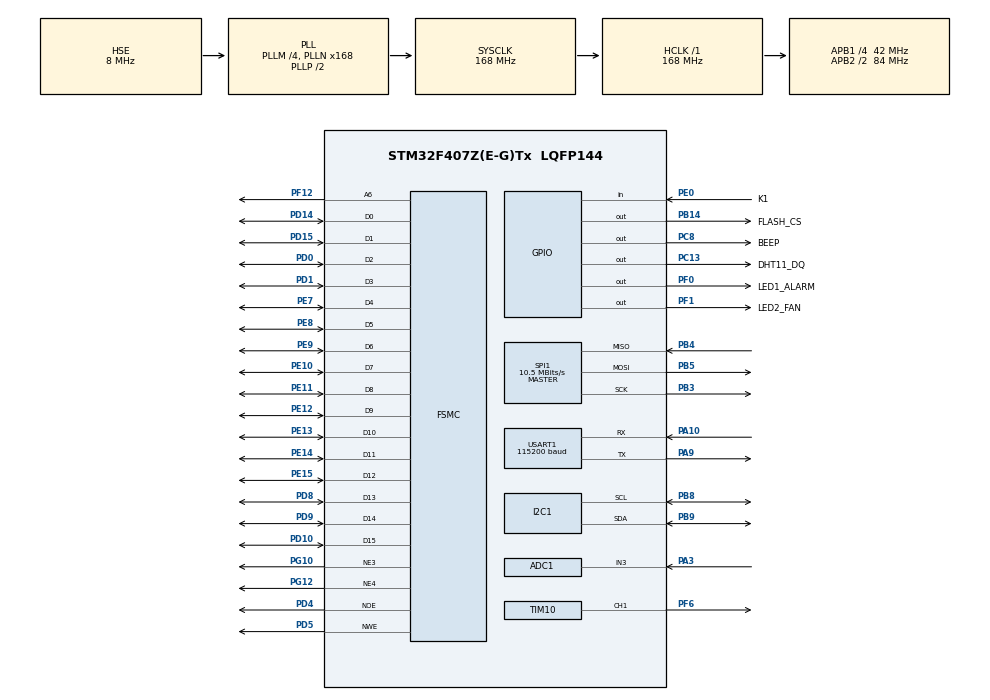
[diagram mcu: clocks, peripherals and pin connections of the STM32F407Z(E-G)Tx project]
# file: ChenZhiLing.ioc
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ADC1.Channel-0\#ChannelRegularConversion=ADC_CHANNEL_3
ADC1.NbrOfConversionFlag=1
ADC1.Rank-0\#ChannelRegularConversion=1
ADC1.SamplingTime-0\#ChannelRegularConversion=ADC_SAMPLETIME_56CYCLES
ADC1.master=1
FSMC.AddressSetupTime3=0
FSMC.BusTurnAroundDuration3=0
FSMC.BusTurnAroundDuration4=0
FSMC.DataSetupTime3=15
FSMC.DataSetupTime4=60
FSMC.ExtendedAddressSetupTime3=0
FSMC.ExtendedAddressSetupTime4=9
FSMC.ExtendedBusTurnAroundDuration3=0
FSMC.ExtendedBusTurnAroundDuration4=0
FSMC.ExtendedDataSetupTime3=15
FSMC.ExtendedDataSetupTime4=8
FSMC.ExtendedMode3=FSMC_EXTENDED_MODE_ENABLE
FSMC.ExtendedMode4=FSMC_EXTENDED_MODE_ENABLE
Mcu.Family=STM32F4
Mcu.Name=STM32F407Z(E-G)Tx
Mcu.Package=LQFP144
NVIC.PriorityGroup=NVIC_PRIORITYGROUP_3
NVIC.TIM6_DAC_IRQn=true\:1\:0\:true\:false\:true\:true\:true\:true
NVIC.TIM7_IRQn=true\:1\:0\:true\:false\:true\:true\:true\:true
NVIC.USART1_IRQn=true\:5\:0\:true\:false\:true\:true\:true\:true
PA10.Mode=Asynchronous
PA10.Signal=USART1_RX
PA13.Mode=Serial_Wire
PA13.Signal=SYS_JTMS-SWDIO
PA14.Mode=Serial_Wire
PA14.Signal=SYS_JTCK-SWCLK
PA3.Signal=ADCx_IN3
PA9.Mode=Asynchronous
PA9.Signal=USART1_TX
PB14.GPIO_Label=FLASH_CS
PB14.GPIO_PuPd=GPIO_PULLUP
PB14.GPIO_Speed=GPIO_SPEED_FREQ_VERY_HIGH
PB14.PinState=GPIO_PIN_SET
PB14.Signal=GPIO_Output
PB3.Mode=Full_Duplex_Master
PB3.Signal=SPI1_SCK
PB4.Mode=Full_Duplex_Master
PB4.Signal=SPI1_MISO
PB5.Mode=Full_Duplex_Master
PB5.Signal=SPI1_MOSI
PB8.Mode=I2C
PB8.Signal=I2C1_SCL
PB9.Mode=I2C
PB9.Signal=I2C1_SDA
PC13-ANTI_TAMP.GPIO_Label=DHT11_DQ
PC13-ANTI_TAMP.GPIO_PuPd=GPIO_PULLUP
PC13-ANTI_TAMP.GPIO_Speed=GPIO_SPEED_FREQ_LOW
PC13-ANTI_TAMP.PinState=GPIO_PIN_SET
PC13-ANTI_TAMP.Signal=GPIO_Output
PC8.GPIO_Label=BEEP
PC8.PinState=GPIO_PIN_SET
PC8.Signal=GPIO_Output
PD0.Signal=FSMC_D2_DA2
PD1.Signal=FSMC_D3_DA3
PD10.Signal=FSMC_D15_DA15
PD14.Signal=FSMC_D0_DA0
PD15.Signal=FSMC_D1_DA1
PD4.Signal=FSMC_NOE
PD5.Signal=FSMC_NWE
PD8.Signal=FSMC_D13_DA13
PD9.Signal=FSMC_D14_DA14
PE0.GPIO_Label=K1
PE0.GPIO_PuPd=GPIO_PULLUP
PE0.Signal=GPIO_Input
PE10.Signal=FSMC_D7_DA7
PE11.Signal=FSMC_D8_DA8
PE12.Signal=FSMC_D9_DA9
PE13.Signal=FSMC_D10_DA10
PE14.Signal=FSMC_D11_DA11
PE15.Signal=FSMC_D12_DA12
PE7.Signal=FSMC_D4_DA4
PE8.Signal=FSMC_D5_DA5
PE9.Signal=FSMC_D6_DA6
PF0.GPIO_Label=LED1_ALARM
PF0.PinState=GPIO_PIN_SET
PF0.Signal=GPIO_Output
PF1.GPIO_Label=LED2_FAN
PF1.PinState=GPIO_PIN_SET
PF1.Signal=GPIO_Output
PF12.Signal=FSMC_A6
PF6.Signal=S_TIM10_CH1
PG10.Mode=NorPsramChipSelect3_3
PG10.Signal=FSMC_NE3
PG12.Mode=NorPsramChipSelect4_4
PG12.Signal=FSMC_NE4
PH0-OSC_IN.Mode=HSE-External-Oscillator
PH0-OSC_IN.Signal=RCC_OSC_IN
PH1-OSC_OUT.Mode=HSE-External-Oscillator
PH1-OSC_OUT.Signal=RCC_OSC_OUT
ProjectManager.HeapSize=0x200
ProjectManager.StackSize=0x400
ProjectManager.TargetToolchain=MDK-ARM V5.27
RCC.48MHZClocksFreq_Value=84000000
RCC.AHBFreq_Value=168000000
RCC.APB1CLKDivider=RCC_HCLK_DIV4
RCC.APB1Freq_Value=42000000
RCC.APB1TimFreq_Value=84000000
RCC.APB2CLKDivider=RCC_HCLK_DIV2
RCC.APB2Freq_Value=84000000
RCC.APB2TimFreq_Value=168000000
RCC.CortexFreq_Value=168000000
RCC.HCLKFreq_Value=168000000
RCC.HSE_VALUE=8000000
RCC.HSI_VALUE=16000000
RCC.LSE_VALUE=32768
RCC.PLLM=4
RCC.PLLN=168
RCC.PLLSourceVirtual=RCC_PLLSOURCE_HSE
RCC.SYSCLKFreq_VALUE=168000000
RCC.SYSCLKSource=RCC_SYSCLKSOURCE_PLLCLK
RCC.VCOOutputFreq_Value=336000000
SH.ADCx_IN3.0=ADC1_IN3,IN3
SH.FSMC_A6.0=FSMC_A6,A6_3
SH.FSMC_A6.1=FSMC_A6,A6_4
SH.FSMC_D0_DA0.0=FSMC_D0,16b-d3
SH.FSMC_D0_DA0.1=FSMC_D0,16b-d4
SH.FSMC_D10_DA10.0=FSMC_D10,16b-d3
SH.FSMC_D10_DA10.1=FSMC_D10,16b-d4
SH.FSMC_D11_DA11.0=FSMC_D11,16b-d3
SH.FSMC_D11_DA11.1=FSMC_D11,16b-d4
SH.FSMC_D12_DA12.0=FSMC_D12,16b-d3
SH.FSMC_D12_DA12.1=FSMC_D12,16b-d4
SH.FSMC_D13_DA13.0=FSMC_D13,16b-d3
SH.FSMC_D13_DA13.1=FSMC_D13,16b-d4
SH.FSMC_D14_DA14.0=FSMC_D14,16b-d3
SH.FSMC_D14_DA14.1=FSMC_D14,16b-d4
SH.FSMC_D15_DA15.0=FSMC_D15,16b-d3
SH.FSMC_D15_DA15.1=FSMC_D15,16b-d4
SH.FSMC_D1_DA1.0=FSMC_D1,16b-d3
SH.FSMC_D1_DA1.1=FSMC_D1,16b-d4
SH.FSMC_D2_DA2.0=FSMC_D2,16b-d3
SH.FSMC_D2_DA2.1=FSMC_D2,16b-d4
SH.FSMC_D3_DA3.0=FSMC_D3,16b-d3
SH.FSMC_D3_DA3.1=FSMC_D3,16b-d4
SH.FSMC_D4_DA4.0=FSMC_D4,16b-d3
SH.FSMC_D4_DA4.1=FSMC_D4,16b-d4
SH.FSMC_D5_DA5.0=FSMC_D5,16b-d3
SH.FSMC_D5_DA5.1=FSMC_D5,16b-d4
SH.FSMC_D6_DA6.0=FSMC_D6,16b-d3
SH.FSMC_D6_DA6.1=FSMC_D6,16b-d4
SH.FSMC_D7_DA7.0=FSMC_D7,16b-d3
SH.FSMC_D7_DA7.1=FSMC_D7,16b-d4
SH.FSMC_D8_DA8.0=FSMC_D8,16b-d3
SH.FSMC_D8_DA8.1=FSMC_D8,16b-d4
SH.FSMC_D9_DA9.0=FSMC_D9,16b-d3
SH.FSMC_D9_DA9.1=FSMC_D9,16b-d4
SH.FSMC_NOE.0=FSMC_NOE,Lcd3
SH.FSMC_NOE.1=FSMC_NOE,Lcd4
SH.FSMC_NWE.0=FSMC_NWE,Lcd3
SH.FSMC_NWE.1=FSMC_NWE,Lcd4
SH.S_TIM10_CH1.0=TIM10_CH1,PWM Generation1 CH1
SPI1.BaudRatePrescaler=SPI_BAUDRATEPRESCALER_8
SPI1.CLKPhase=SPI_PHASE_2EDGE
SPI1.CLKPolarity=SPI_POLARITY_HIGH
SPI1.CalculateBaudRate=10.5 MBits/s
SPI1.Direction=SPI_DIRECTION_2LINES
SPI1.Mode=SPI_MODE_MASTER
SPI1.VirtualType=VM_MASTER
TIM10.AutoReloadPreload=TIM_AUTORELOAD_PRELOAD_ENABLE
TIM10.Channel=TIM_CHANNEL_1
TIM10.OCPolarity_1=TIM_OCPOLARITY_LOW
TIM10.Period=99
TIM10.Prescaler=167
TIM6.AutoReloadPreload=TIM_AUTORELOAD_PRELOAD_ENABLE
TIM6.Period=4999
TIM6.Prescaler=8399
TIM7.AutoReloadPreload=TIM_AUTORELOAD_PRELOAD_ENABLE
TIM7.Period=499
TIM7.Prescaler=8399
USART1.BaudRate=115200
USART1.VirtualMode=VM_ASYNC
VP_TIM10_VS_ClockSourceINT.Mode=Enable_Timer
VP_TIM6_VS_ClockSourceINT.Mode=Enable_Timer
VP_TIM7_VS_ClockSourceINT.Mode=Enable_Timer
board=custom

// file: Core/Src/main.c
/* USER CODE BEGIN Header */
/**
  ******************************************************************************
  * @file           : main.c
  * @brief          : Main program body
  ******************************************************************************
  * @attention
  *
  * Copyright (c) 2026 STMicroelectronics.
  * All rights reserved.
  *
  * This software is licensed under terms that can be found in the LICENSE file
  * in the root directory of this software component.
  * If no LICENSE file comes with this software, it is provided AS-IS.
  *
  ******************************************************************************
  */
/* USER CODE END Header */
#include "main.h"
#include "adc.h"
#include "i2c.h"
#include "spi.h"
#include "tim.h"
#include "gpio.h"
#include "fsmc.h"
#include "usart.h"

/* USER CODE BEGIN Includes */
#include "dht11.h"
#include "at24c02.h"
#include "lcd.h"
#include "flash.h"
#include "includes.h"   // [RTOS 新增] 引入 uC/OS-II 内核总头文件 (ucos_ii.h / os_cpu.h / os_cfg.h)
#include <stdio.h>
#include <string.h>
/* USER CODE END Includes */

/* USER CODE BEGIN PTD */
// Flash 历史记录扇区基地址 (W25Q128 扇区 16: 0x00010000 = 64KB)
#define FLASH_HISTORY_ADDR      0x00010000
#define FLASH_HISTORY_MAGIC     0x55AAAA55
#define FLASH_HISTORY_MAX_NUM   10

typedef struct {
    float    volt;       // 电压 (V)
    uint8_t  humi;       // 湿度 (%RH)
    uint8_t  temp;       // 温度 (℃)
    uint8_t  fan_duty;   // 风扇占空比 (%)
    uint8_t  alarm_flag; // 报警状态 (0:正常, 1:电压报警, 2:湿度报警, 3:双重报警)
} HistoryRecord_t;

typedef struct {
    uint32_t magic;      // 0x55AAAA55
    uint8_t  count;      // 0~10
    HistoryRecord_t records[FLASH_HISTORY_MAX_NUM];
} HistoryStorage_t;

typedef enum {
    UI_PAGE_REALTIME = 0, // 0: 实时监控仪表盘
    UI_PAGE_HISTORY  = 1  // 1: 历史 10 组记录表格
} UIPage_t;
/* USER CODE END PTD */

/* USER CODE BEGIN PD */
// ==================== [RTOS 新增: 任务优先级与栈配置] ====================
// 优先级规则：数值越小优先级越高 (0 被 OS_TASK_TMR_PRIO 占用, 62/63 被统计/空闲任务占用)
#define TASK_SENSOR_PRIO      1u     // 任务1: 传感器采样 (ADC 50ms + DHT11 1s)
#define TASK_CTRL_PRIO        2u     // 任务2: 风扇/PWM/报警裁决 (邮箱触发)
#define TASK_I2C_PRIO         3u     // 任务3: AT24C02 I2C 写校验 (邮箱触发, 5ms 让出 CPU)
#define TASK_KEY_PRIO         4u     // 任务4: K1 按键状态机 (20ms) + 3s Flash 归档
#define TASK_UI_PRIO          5u     // 任务5: LCD 切屏与 200ms 局部刷新
#define TASK_UART_PRIO        6u     // 任务6: USART1 每 1s 遥测报文上报
#define TASK_START_PRIO       7u     // 启动引导任务 (初始化内核对象并创建子任务后自删)

// 堆栈深度 (单位: 32位 OS_STK, 即字数; Cortex-M4F 需为浮点寄存器保存与 printf 预留余量)
#define TASK_START_STK_SIZE   128u
#define TASK_SENSOR_STK_SIZE  256u
#define TASK_CTRL_STK_SIZE    256u
#define TASK_I2C_STK_SIZE     256u
#define TASK_KEY_STK_SIZE     256u
#define TASK_UI_STK_SIZE      512u
#define TASK_UART_STK_SIZE    512u
/* USER CODE END PD */

/* USER CODE BEGIN PV */
volatile float    g_light_volt        = 0.0f; // 当前光敏采集电压 (V)
volatile uint8_t  g_alarm_en          = 0;    // 电压超标报警标志 (1Hz 蜂鸣器): 1-开启, 0-关闭
volatile uint8_t  g_fan_duty          = 0;    // 当前风扇 PWM 占空比百分比 (0~100)
volatile uint8_t  g_humidity          = 0;    // 从 DHT11 直接采集到的实时湿度 (%RH)
volatile uint8_t  g_temperature       = 0;    // 从 DHT11 直接采集到的实时温度 (℃)
volatile uint8_t  g_eeprom_humi       = 0;    // 从 AT24C02 I2C 读回校验的湿度 (%RH)
volatile uint8_t  g_humi_alarm_en     = 0;    // 湿度超标报警标志 (10Hz LED1): 1-开启, 0-关闭

volatile UIPage_t g_current_page      = UI_PAGE_REALTIME; // 当前 LCD 显示页面
volatile uint8_t  g_flash_ok          = 0;    // W25Q128 硬件握手就绪标志 (1-OK, 0-FAIL)
volatile uint8_t  g_page_need_draw    = 1;    // 页面重绘标志 (切屏时置 1)
volatile uint32_t g_clear_prompt_tick = 0;    // 清除提示显示计时
HistoryStorage_t  g_hist_storage      = {0};  // 历史数据内存缓存

// ==================== [RTOS 新增: 内核同步通信对象与任务堆栈] ====================
// Cortex-M4 AAPCS 与硬件 FPU 要求任务栈起始及运行时严格 8 字节对齐 (__align(8))
__align(8) OS_STK TASK_START_STK[TASK_START_STK_SIZE];
__align(8) OS_STK TASK_SENSOR_STK[TASK_SENSOR_STK_SIZE];
__align(8) OS_STK TASK_CTRL_STK[TASK_CTRL_STK_SIZE];
__align(8) OS_STK TASK_I2C_STK[TASK_I2C_STK_SIZE];
__align(8) OS_STK TASK_KEY_STK[TASK_KEY_STK_SIZE];
__align(8) OS_STK TASK_UI_STK[TASK_UI_STK_SIZE];
__align(8) OS_STK TASK_UART_STK[TASK_UART_STK_SIZE];

OS_EVENT *g_sem_data      = NULL; // 二值信号量: 保护共享传感器与控制变量 (初值 1: 0被占/1可用)
OS_EVENT *g_sem_storage   = NULL; // 二值信号量: 保护 g_hist_storage 缓存与 W25Q128 SPI 访问 (初值 1)
OS_EVENT *g_mbox_ctrl     = NULL; // 消息邮箱: Sample -> Control (实时采样帧通知)
OS_EVENT *g_mbox_i2c      = NULL; // 消息邮箱: Sample -> I2C_Comm (新湿度值待存入 EEPROM)

typedef struct {
    float   volt;
    uint8_t humi;
    uint8_t temp;
    uint8_t eeprom_humi;
    uint8_t fan_duty;
    uint8_t alarm_en;
    uint8_t humi_alarm_en;
} SensorSnapshot_t;

typedef struct {
    float   volt;
    uint8_t humi;
} CtrlMailMsg_t;

static CtrlMailMsg_t g_ctrl_mail_msg = {0.0f, 0};
static uint8_t       g_i2c_mail_humi = 0;
/* USER CODE END PV */

void SystemClock_Config(void);
/* USER CODE BEGIN PFP */
void Storage_Init(void);
void Storage_AddRecord(float volt, uint8_t humi, uint8_t temp, uint8_t fan_duty, uint8_t alarm);
void Storage_ClearHistory(void);
void AppTask_ADC_Process(void);
// void AppTask_Fan_Process(void); // [老函数保留] 已由 AppTask_Fan_Update 替代
void AppTask_Fan_Update(float volt);
uint8_t AppTask_Sensor_Process(void);
void AppTask_I2C_Process(uint8_t humi);
void AppTask_Key_Process(void);
void AppTask_Storage_Process(void);
void AppTask_LCD_Init(void);
void AppTask_LCD_DrawRealtimePage(void);
void AppTask_LCD_DrawHistoryPage(void);
void AppTask_LCD_Process(void);
void AppTask_UART_Process(void);

// [RTOS 新增任务入口与保护辅助函数声明]
void Task_Start(void *p_arg);
void Task_Sensor_Sample(void *p_arg);
void Task_Control_Alarm(void *p_arg);
void Task_I2C_Comm(void *p_arg);
void Task_Key_Storage(void *p_arg);
void Task_UI_Display(void *p_arg);
void Task_UART_Report(void *p_arg);
/* USER CODE END PFP */

/* USER CODE BEGIN 0 */

// ==================== [RTOS 新增: 线程安全数据快照与二值信号量辅助函数] ====================
// 使用二值信号量 (OSSem): 初值设为 1 (0 代表被占用, 1 代表空闲可用)
static void App_LockSem(OS_EVENT *sem)
{
    INT8U err;
    if ((OSRunning == OS_TRUE) && (sem != (OS_EVENT *)0))
    {
        OSSemPend(sem, 0, &err);
    }
}

static void App_UnlockSem(OS_EVENT *sem)
{
    if ((OSRunning == OS_TRUE) && (sem != (OS_EVENT *)0))
    {
        OSSemPost(sem);
    }
}

static void App_GetSensorSnapshot(SensorSnapshot_t *snap)
{
    App_LockSem(g_sem_data);
    snap->volt          = g_light_volt;
    snap->humi          = g_humidity;
    snap->temp          = g_temperature;
    snap->eeprom_humi   = g_eeprom_humi;
    snap->fan_duty      = g_fan_duty;
    snap->alarm_en      = g_alarm_en;
    snap->humi_alarm_en = g_humi_alarm_en;
    App_UnlockSem(g_sem_data);
}

/**
 * @brief 初始化 W25Q128 并恢复掉电历史记录 (OSStart() 前单线程执行，与裸机完全一致)
 */
void Storage_Init(void)
{
    uint16_t flashid = 0;

    /* SPI1 Mode3(CPOL=1) 首字节预热：CS 保持高电平，发空时钟使 SCK 稳定空闲高电平 */
    __Deselect_Flash();
    SPI1_ReadWriteByte(0xFF);

    /* 释放掉电并拉高片选，复位可能因热下载中断的 W25Q128 通信状态 */
    __Select_Flash();
    SPI1_ReadWriteByte(W25X_ReleasePowerDown);
    __Deselect_Flash();
    HAL_Delay(2);

    /* 丢弃首次 ID 读取，再最多重试 5 次读取芯片 ID */
    W25QXX_ReadID();
    for (uint8_t retry = 0; retry < 5U; retry++)
    {
        flashid = W25QXX_ReadID();
        if ((flashid == W25Q128) || (flashid == 0xC817))
        {
            break;
        }
        HAL_Delay(10);
    }

    if ((flashid == W25Q128) || (flashid == 0xC817))
    {
        g_flash_ok = 1;
        W25QXX_Read((uint8_t *)&g_hist_storage, FLASH_HISTORY_ADDR, sizeof(HistoryStorage_t));
        if (g_hist_storage.magic != FLASH_HISTORY_MAGIC || g_hist_storage.count > FLASH_HISTORY_MAX_NUM)
        {
            g_hist_storage.magic = FLASH_HISTORY_MAGIC;
            g_hist_storage.count = 0;
            memset(g_hist_storage.records, 0, sizeof(g_hist_storage.records));
            W25QXX_Write((uint8_t *)&g_hist_storage, FLASH_HISTORY_ADDR, sizeof(HistoryStorage_t));
        }
        printf("[FLASH] W25Q128 OK (ID=0x%04X, Records=%u)\r\n", flashid, (unsigned int)g_hist_storage.count);
    }
    else
    {
        g_flash_ok = 0;
        printf("[FLASH] NOT FOUND (ID=0x%04X)\r\n", flashid);
    }
}

/**
 * @brief 新增一条历史遥测记录 (滚动 FIFO 环形队列)
 */
void Storage_AddRecord(float volt, uint8_t humi, uint8_t temp, uint8_t fan_duty, uint8_t alarm)
{
    if (!g_flash_ok) return;

    // [原裸机状态] 单线程顺序轮询，直接修改 g_hist_storage 并写 Flash
    // [RTOS 改动] 申请二值信号量保护，防止写盘/移位期间 Task_UI_Display 读出撕裂的历史表格
    App_LockSem(g_sem_storage);

    if (g_hist_storage.count < FLASH_HISTORY_MAX_NUM)
    {
        g_hist_storage.count++;
    }
    else
    {
        for (int i = 0; i < FLASH_HISTORY_MAX_NUM - 1; i++)
        {
            g_hist_storage.records[i] = g_hist_storage.records[i + 1];
        }
    }

    HistoryRecord_t *r = &g_hist_storage.records[g_hist_storage.count - 1];
    r->volt       = volt;
    r->humi       = humi;
    r->temp       = temp;
    r->fan_duty   = fan_duty;
    r->alarm_flag = alarm;

    g_hist_storage.magic = FLASH_HISTORY_MAGIC;
    W25QXX_Write((uint8_t *)&g_hist_storage, FLASH_HISTORY_ADDR, sizeof(HistoryStorage_t));

    App_UnlockSem(g_sem_storage);
}

/**
 * @brief 清空 Flash 历史记录 (响应 K1 长按)
 */
void Storage_ClearHistory(void)
{
    if (!g_flash_ok) return;

    // [RTOS 改动] 二值信号量保护 W25Q128 擦写及 g_hist_storage 缓存清零
    App_LockSem(g_sem_storage);

    g_hist_storage.magic = FLASH_HISTORY_MAGIC;
    g_hist_storage.count = 0;
    memset(g_hist_storage.records, 0, sizeof(g_hist_storage.records));
    W25QXX_Write((uint8_t *)&g_hist_storage, FLASH_HISTORY_ADDR, sizeof(HistoryStorage_t));

    App_UnlockSem(g_sem_storage);
}

/**
 * @brief  绘制 Page 0: 实时监控仪表盘底框与静态标签
 */
void AppTask_LCD_DrawRealtimePage(void)
{
    LCD_Clear(BLACK);

    // --- 顶部导航标题栏 (深度蓝背景 + 金黄色居中文字) ---
    LCD_Fill(0, 0, 319, 26, DARKBLUE);
    LCD_ShowString(16, 5, (const u8 *)"STAR-SPARK EMBEDDED MONITOR", YELLOW, DARKBLUE, 16, 0);
    LCD_DrawLine(0, 27, 319, 27, GRAYBLUE);

    // --- 卡片1: 光照电压采集模块 (PA3 ADC1) ---
    LCD_DrawRectangle(4, 31, 315, 75, GRAYBLUE);
    LCD_ShowString(10, 34, (const u8 *)"[1] LIGHT SENSOR (PA3)", CYAN, BLACK, 16, 0);
    LCD_ShowString(10, 54, (const u8 *)"Volt :       V", WHITE, BLACK, 16, 0);

    // --- 卡片2: 温湿度环境模块 (PC13 DHT11) ---
    LCD_DrawRectangle(4, 80, 315, 124, GRAYBLUE);
    LCD_ShowString(10, 83, (const u8 *)"[2] HUMIDITY SENSOR (DHT11)", CYAN, BLACK, 16, 0);
    LCD_ShowString(10, 103, (const u8 *)"Humi :    %RH", WHITE, BLACK, 16, 0);

    // --- 卡片3: 风扇调速与执行器 (PWM TIM10) ---
    LCD_DrawRectangle(4, 129, 315, 173, GRAYBLUE);
    LCD_ShowString(10, 132, (const u8 *)"[3] FAN CONTROLLER (TIM10)", CYAN, BLACK, 16, 0);
    LCD_ShowString(10, 152, (const u8 *)"State: ", WHITE, BLACK, 16, 0);

    // --- 卡片4: I2C & SPI 存储状态 ---
    LCD_DrawRectangle(4, 178, 315, 218, GRAYBLUE);
    LCD_ShowString(10, 181, (const u8 *)"[4] AT24C02 & W25Q128 STORAGE", CYAN, BLACK, 16, 0);
    if (g_flash_ok)
    {
        LCD_ShowString(10, 199, (const u8 *)"I2C Save:    %RH  FLASH: [W25Q128 OK]", LGRAY, BLACK, 12, 0);
    }
    else
    {
        LCD_ShowString(10, 199, (const u8 *)"I2C Save:    %RH  FLASH: [NOT FOUND ]", RED, BLACK, 12, 0);
    }

    // --- 底部状态指示栏 ---
    LCD_DrawLine(0, 222, 319, 222, GRAYBLUE);
    LCD_ShowString(6, 225, (const u8 *)"PAGE:[REALTIME] | K1:SWITCH TO HISTORY", GRAY, BLACK, 12, 0);
}

/**
 * @brief  绘制 Page 1: 历史 10 组遥测数据表格底框与表头
 */
void AppTask_LCD_DrawHistoryPage(void)
{
    LCD_Clear(BLACK);

    // --- 顶部导航标题栏 ---
    LCD_Fill(0, 0, 319, 24, DARKBLUE);
    LCD_ShowString(16, 4, (const u8 *)"W25Q128 HISTORICAL RECORDS (10-PTS)", YELLOW, DARKBLUE, 16, 0);
    LCD_DrawLine(0, 25, 319, 25, GRAYBLUE);

    // --- 表头区域 (深沉蓝灰背景 + 纯白文字) ---
    LCD_Fill(4, 28, 315, 44, 0x18E3);
    LCD_ShowString(8, 30, (const u8 *)"NO    VOLT     HUMI    TEMP     FAN      STATUS", WHITE, 0x18E3, 12, 0);
    LCD_DrawLine(4, 45, 315, 45, GRAYBLUE);

    // --- 底部按键指引栏 ---
    LCD_DrawLine(0, 222, 319, 222, GRAYBLUE);
    LCD_ShowString(6, 225, (const u8 *)"[K1] Short: Monitor | Long (1.5s): Clear", LGRAY, BLACK, 12, 0);
}

/**
 * @brief  初始化 3.2 寸 TFT-LCD 液晶屏
 */
void AppTask_LCD_Init(void)
{
    LCD_Init();                    // 1. 初始化 ILI9341 控制器
    LCD_Clear(BLACK);              // 2. 先清屏为纯黑，避免显存随机杂点
    g_page_need_draw = 1;          // 3. 标记在首次任务调度时绘制首屏 UI
}

/**
 * @brief  TFT-LCD 双页面平滑无闪烁动态刷新任务
 */
/* ==================== [原裸机代码注释保留 - AppTask_LCD_Process] ====================
 * [改动原因] 1) 原版直接读取全局变量 g_light_volt / g_hist_storage 渲染屏幕；多任务抢占下
 *               可能导致刚画到一半时数据或历史队列被高优先级任务修改，出现数据撕裂。
 *            2) RTOS 版先在互斥锁内微秒级拷贝出本地快照 (snap / hist_snap) 后立刻解锁再慢速刷屏，
 *               既保证一致，又绝不因 FSMC 刷屏阻塞传感器与 Flash 任务；切屏标志亦加临界区保护。
 */
#if 0
void AppTask_LCD_Process(void)
{
    static uint32_t last_lcd_tick = 0;
    char str_buf[64];

    // 1. 如果切屏标志置位，先执行一次静态底框全屏重绘
    if (g_page_need_draw)
    {
        g_page_need_draw = 0;
        if (g_current_page == UI_PAGE_REALTIME)
        {
            AppTask_LCD_DrawRealtimePage();
        }
        else
        {
            AppTask_LCD_DrawHistoryPage();
        }
    }

    // 2. 200ms 分频增量非阻塞刷新 (零屏闪)
    if (HAL_GetTick() - last_lcd_tick < 200)
    {
        return;
    }
    last_lcd_tick = HAL_GetTick();

    // =========================================================================
    //                            PAGE 0: 实时监控仪表盘
    // =========================================================================
    if (g_current_page == UI_PAGE_REALTIME)
    {
        // ----- 卡片1: 光敏电压动态刷新 -----
        sprintf(str_buf, "%4.2f", g_light_volt);
        LCD_ShowString(64, 54, (const u8 *)str_buf, YELLOW, BLACK, 16, 0);

        if (g_light_volt > 1.5f)
        {
            LCD_ShowString(160, 54, (const u8 *)"[ALARM: BEEP 1Hz]", RED, BLACK, 16, 0);
        }
        else
        {
            LCD_ShowString(160, 54, (const u8 *)"[STATUS: NORMAL ]", GREEN, BLACK, 16, 0);
        }

        // ----- 卡片2: 湿度与温度动态刷新 -----
        sprintf(str_buf, "%2d", g_humidity);
        LCD_ShowString(64, 103, (const u8 *)str_buf, YELLOW, BLACK, 16, 0);

        sprintf(str_buf, "(%2dC)", g_temperature);
        LCD_ShowString(110, 103, (const u8 *)str_buf, LIGHTBLUE, BLACK, 16, 0);

        if (g_humidity > 50)
        {
            LCD_ShowString(160, 103, (const u8 *)"[ALARM: LED 10Hz]", RED, BLACK, 16, 0);
        }
        else
        {
            LCD_ShowString(160, 103, (const u8 *)"[STATUS: NORMAL ]", GREEN, BLACK, 16, 0);
        }

        // ----- 卡片3: 风扇启停与占空比动态刷新 -----
        if (g_light_volt > 1.5f)
        {
            sprintf(str_buf, "[RUN] Duty:%3d%%", g_fan_duty);
            LCD_ShowString(64, 152, (const u8 *)str_buf, CYAN, BLACK, 16, 0);
        }
        else
        {
            sprintf(str_buf, "[OFF] Duty:  0%%");
            LCD_ShowString(64, 152, (const u8 *)str_buf, GRAY, BLACK, 16, 0);
        }

        // ----- 卡片4: AT24C02 存储回读值动态刷新 -----
        sprintf(str_buf, "%2d", g_eeprom_humi);
        LCD_ShowString(76, 199, (const u8 *)str_buf, YELLOW, BLACK, 12, 0);
    }
    // =========================================================================
    //                        PAGE 1: 历史 10 组记录表格
    // =========================================================================
    else if (g_current_page == UI_PAGE_HISTORY)
    {
        uint16_t y_pos = 48;

        for (int i = 0; i < FLASH_HISTORY_MAX_NUM; i++)
        {
            y_pos = 48 + i * 16;
            if (i < g_hist_storage.count)
            {
                HistoryRecord_t *r = &g_hist_storage.records[i];
                const char *alm_str = "NORMAL  ";
                uint16_t alm_color = GREEN;

                if (r->alarm_flag == 3)      { alm_str = "DUAL_ALM"; alm_color = RED; }
                else if (r->alarm_flag == 1) { alm_str = "V_ALARM "; alm_color = YELLOW; }
                else if (r->alarm_flag == 2) { alm_str = "H_ALARM "; alm_color = MAGENTA; }

                sprintf(str_buf, "#%02d   %4.2fV    %3d%%    %3dC     %3d%%     ",
                        i + 1, r->volt, r->humi, r->temp, r->fan_duty);
                LCD_ShowString(8, y_pos, (const u8 *)str_buf, WHITE, BLACK, 12, 0);
                LCD_ShowString(254, y_pos, (const u8 *)alm_str, alm_color, BLACK, 12, 0);
            }
            else
            {
                sprintf(str_buf, "#%02d   -.--V     --%%     --C     ---%%     --------", i + 1);
                LCD_ShowString(8, y_pos, (const u8 *)str_buf, GRAY, BLACK, 12, 0);
            }
        }

        // 响应清空提示显示
        if (g_clear_prompt_tick > 0)
        {
            if (HAL_GetTick() - g_clear_prompt_tick < 1500)
            {
                LCD_ShowString(36, 208, (const u8 *)">>> FLASH HISTORY CLEARED! <<<", RED, BLACK, 12, 0);
            }
            else
            {
                LCD_ShowString(36, 208, (const u8 *)"                              ", BLACK, BLACK, 12, 0);
                g_clear_prompt_tick = 0;
            }
        }
    }
}
#endif

void AppTask_LCD_Process(void)
{
    OS_CPU_SR cpu_sr = 0u;
    static uint32_t last_lcd_tick = 0;
    char str_buf[64];
    UIPage_t local_page;
    uint8_t  need_draw;
    uint32_t prompt_tick;

    // 1. 临界区内原子读取并清除切屏标志，防止被高优先级按键任务打断造成底框与页面错配
    OS_ENTER_CRITICAL();
    need_draw = g_page_need_draw;
    g_page_need_draw = 0;
    local_page = g_current_page;
    prompt_tick = g_clear_prompt_tick;
    OS_EXIT_CRITICAL();

    if (need_draw)
    {
        if (local_page == UI_PAGE_REALTIME)
        {
            AppTask_LCD_DrawRealtimePage();
        }
        else
        {
            AppTask_LCD_DrawHistoryPage();
        }
    }

    // 2. 数据刷新保持 200ms 周期无闪烁 (刚切屏重绘底框时立即补全当帧数值)
    if (!need_draw && (HAL_GetTick() - last_lcd_tick < 200U))
    {
        return;
    }
    last_lcd_tick = HAL_GetTick();

    if (local_page == UI_PAGE_REALTIME)
    {
        SensorSnapshot_t snap;
        App_GetSensorSnapshot(&snap); // 互斥锁保护拷贝，锁外慢速渲染 LCD

        sprintf(str_buf, "%4.2f", snap.volt);
        LCD_ShowString(64, 54, (const u8 *)str_buf, YELLOW, BLACK, 16, 0);

        if (snap.volt > 1.5f)
        {
            LCD_ShowString(160, 54, (const u8 *)"[ALARM: BEEP 1Hz]", RED, BLACK, 16, 0);
        }
        else
        {
            LCD_ShowString(160, 54, (const u8 *)"[STATUS: NORMAL ]", GREEN, BLACK, 16, 0);
        }

        sprintf(str_buf, "%2d", snap.humi);
        LCD_ShowString(64, 103, (const u8 *)str_buf, YELLOW, BLACK, 16, 0);

        sprintf(str_buf, "(%2dC)", snap.temp);
        LCD_ShowString(110, 103, (const u8 *)str_buf, LIGHTBLUE, BLACK, 16, 0);

        if (snap.humi > 50)
        {
            LCD_ShowString(160, 103, (const u8 *)"[ALARM: LED 10Hz]", RED, BLACK, 16, 0);
        }
        else
        {
            LCD_ShowString(160, 103, (const u8 *)"[STATUS: NORMAL ]", GREEN, BLACK, 16, 0);
        }

        if (snap.volt > 1.5f)
        {
            sprintf(str_buf, "[RUN] Duty:%3d%%", snap.fan_duty);
            LCD_ShowString(64, 152, (const u8 *)str_buf, CYAN, BLACK, 16, 0);
        }
        else
        {
            sprintf(str_buf, "[OFF] Duty:  0%%");
            LCD_ShowString(64, 152, (const u8 *)str_buf, GRAY, BLACK, 16, 0);
        }

        sprintf(str_buf, "%2d", snap.eeprom_humi);
        LCD_ShowString(76, 199, (const u8 *)str_buf, YELLOW, BLACK, 12, 0);
    }
    else if (local_page == UI_PAGE_HISTORY)
    {
        HistoryStorage_t hist_snap;
        uint16_t y_pos = 48;

        // 申请二值信号量，拷贝历史表快照后立刻释放
        App_LockSem(g_sem_storage);
        memcpy(&hist_snap, &g_hist_storage, sizeof(HistoryStorage_t));
        App_UnlockSem(g_sem_storage);

        for (int i = 0; i < FLASH_HISTORY_MAX_NUM; i++)
        {
            y_pos = 48 + i * 16;
            if (i < hist_snap.count)
            {
                HistoryRecord_t *r = &hist_snap.records[i];
                const char *alm_str = "NORMAL  ";
                uint16_t alm_color = GREEN;

                if (r->alarm_flag == 3)      { alm_str = "DUAL_ALM"; alm_color = RED; }
                else if (r->alarm_flag == 1) { alm_str = "V_ALARM "; alm_color = YELLOW; }
                else if (r->alarm_flag == 2) { alm_str = "H_ALARM "; alm_color = MAGENTA; }

                sprintf(str_buf, "#%02d   %4.2fV    %3d%%    %3dC     %3d%%     ",
                        i + 1, r->volt, r->humi, r->temp, r->fan_duty);
                LCD_ShowString(8, y_pos, (const u8 *)str_buf, WHITE, BLACK, 12, 0);
                LCD_ShowString(254, y_pos, (const u8 *)alm_str, alm_color, BLACK, 12, 0);
            }
            else
            {
                sprintf(str_buf, "#%02d   -.--V     --%%     --C     ---%%     --------", i + 1);
                LCD_ShowString(8, y_pos, (const u8 *)str_buf, GRAY, BLACK, 12, 0);
            }
        }

        if (prompt_tick > 0U)
        {
            if (HAL_GetTick() - prompt_tick < 1500U)
            {
                LCD_ShowString(36, 208, (const u8 *)">>> FLASH HISTORY CLEARED! <<<", RED, BLACK, 12, 0);
            }
            else
            {
                LCD_ShowString(36, 208, (const u8 *)"                              ", BLACK, BLACK, 12, 0);
                OS_ENTER_CRITICAL();
                g_clear_prompt_tick = 0U;
                OS_EXIT_CRITICAL();
            }
        }
    }
}

/**
 * @brief  K1 按键四态非阻塞消抖扫描与人机交互调度任务 (短按切屏 / 长按清空)
 */
void AppTask_Key_Process(void)
{
    OS_CPU_SR cpu_sr = 0u;
    typedef enum {
        KEY_STATE_IDLE = 0,         // 空闲态：按键处于稳定高电平
        KEY_STATE_PRESS_DEBOUNCE,   // 按下消抖态：刚检测到低电平，等待 20ms 稳定
        KEY_STATE_PRESSED,          // 确认按下态：已确认按下，计时判断长按
        KEY_STATE_RELEASE_DEBOUNCE  // 释放消抖态：检测到高电平，防止松手回弹误触发
    } KeyState_t;

    static KeyState_t state = KEY_STATE_IDLE;
    static uint32_t debounce_tick = 0;    // 消抖阶段起点时间戳
    static uint32_t press_start_tick = 0; // 按下阶段起点时间戳
    static uint8_t  long_triggered = 0;   // 长按锁存标志，防止松手后误判短按

    uint32_t now = HAL_GetTick();
    uint8_t is_down = K1_DOWN();          // PE0 低电平按下返回 1，高电平释放返回 0

    switch (state)
    {
        case KEY_STATE_IDLE:
            if (is_down)
            {
                state = KEY_STATE_PRESS_DEBOUNCE;
                debounce_tick = now;
                press_start_tick = now;
                long_triggered = 0;
            }
            break;

        case KEY_STATE_PRESS_DEBOUNCE:
            if (!is_down)
            {
                // 20ms 内回高电平 -> 视为毛刺或弹跳抖动，退回空闲态
                state = KEY_STATE_IDLE;
            }
            else if (now - debounce_tick >= 20)
            {
                // 低电平持续稳定 >= 20ms -> 正式确认按下
                state = KEY_STATE_PRESSED;
            }
            break;

        case KEY_STATE_PRESSED:
            if (!is_down)
            {
                // 检测到释放高电平 -> 先进入释放消抖，不立即结算短按
                state = KEY_STATE_RELEASE_DEBOUNCE;
                debounce_tick = now;
            }
            else if (!long_triggered && (now - press_start_tick >= 1500))
            {
                // 持续按下超过 1500ms 触发长按：清空历史记录
                long_triggered = 1;
                Storage_ClearHistory();
                // [原裸机代码] 直接修改全局变量 (裸机单线程无竞态)
                // g_clear_prompt_tick = HAL_GetTick();
                // if (g_current_page == UI_PAGE_HISTORY) { g_page_need_draw = 1; }
                // [RTOS 改动] 临界区保护，防止与低优先级 UI 任务并发读写切屏标志
                OS_ENTER_CRITICAL();
                g_clear_prompt_tick = HAL_GetTick();
                if (g_current_page == UI_PAGE_HISTORY)
                {
                    g_page_need_draw = 1;
                }
                OS_EXIT_CRITICAL();
            }
            break;

        case KEY_STATE_RELEASE_DEBOUNCE:
            if (is_down)
            {
                // 20ms 内又回到低电平 -> 释放弹跳或短暂抖动，恢复按下态继续保持
                state = KEY_STATE_PRESSED;
            }
            else if (now - debounce_tick >= 20)
            {
                // 高电平稳定 >= 20ms -> 确认彻底松手
                state = KEY_STATE_IDLE;
                if (!long_triggered)
                {
                    // 未触发过长按，且已通过按下+释放双向消抖 -> 判定为短按并切屏
                    // [RTOS 改动] 临界区原子更新页面编号与重绘通知标志
                    OS_ENTER_CRITICAL();
                    if (g_current_page == UI_PAGE_REALTIME)
                    {
                        g_current_page = UI_PAGE_HISTORY;
                    }
                    else
                    {
                        g_current_page = UI_PAGE_REALTIME;
                    }
                    g_page_need_draw = 1;
                    OS_EXIT_CRITICAL();
                }
            }
            break;

        default:
            state = KEY_STATE_IDLE;
            break;
    }
}

/**
 * @brief 模块五: 历史数据掉电持久化归档任务函数 (由 Task_Key_Storage 每 3 秒周期调用)
 */
void AppTask_Storage_Process(void)
{
    if (g_flash_ok)
    {
        SensorSnapshot_t snap;
        App_GetSensorSnapshot(&snap);

        uint8_t alarm_state = 0;
        if (snap.alarm_en && snap.humi_alarm_en) alarm_state = 3; // 双重报警
        else if (snap.alarm_en)                  alarm_state = 1; // 仅电压超标
        else if (snap.humi_alarm_en)             alarm_state = 2; // 仅湿度超标

        Storage_AddRecord(snap.volt, snap.humi, snap.temp, snap.fan_duty, alarm_state);
    }
}

/**
 * @brief 定时器周期溢出中断回调函数 (TIM6 每 500ms 触发一次, TIM7 每 50ms 触发一次)
 * @param htim 定时器句柄
 */
void HAL_TIM_PeriodElapsedCallback(TIM_HandleTypeDef *htim)
{
    // TIM6 周期溢出中断 (每 500ms 一次，调度蜂鸣器 1Hz 慢速间歇报警)
    if (htim->Instance == TIM6)
    {
        if (g_alarm_en)
        {
            HAL_GPIO_TogglePin(BEEP_GPIO_Port, BEEP_Pin);
        }
        else
        {
            HAL_GPIO_WritePin(BEEP_GPIO_Port, BEEP_Pin, GPIO_PIN_SET);
        }
    }
    // TIM7 周期溢出中断 (每 50ms 一次，调度 LED1 10Hz 极速闪烁报警)
    else if (htim->Instance == TIM7)
    {
        if (g_humi_alarm_en)
        {
            HAL_GPIO_TogglePin(LED1_ALARM_GPIO_Port, LED1_ALARM_Pin);
        }
        else
        {
            HAL_GPIO_WritePin(LED1_ALARM_GPIO_Port, LED1_ALARM_Pin, GPIO_PIN_SET);
        }
    }
}

/**
 * @brief  采集 PA3 光敏电阻电压，并线性换算为实际电压值 (0.00V ~ 3.30V)
 * @retval 测量电压值 (float)
 */
float Get_Light_Voltage(void)
{
    uint32_t adc_val = 0;

    HAL_ADC_Start(&hadc1);
    if (HAL_ADC_PollForConversion(&hadc1, 10) == HAL_OK)
    {
        adc_val = HAL_ADC_GetValue(&hadc1);
    }
    HAL_ADC_Stop(&hadc1);

    return (float)adc_val * 3.3f / 4095.0f;
}

/**
 * @brief 模块一: ADC 采集光敏电压与报警使能判定
 */
void AppTask_ADC_Process(void)
{
    float volt = Get_Light_Voltage();
    App_LockSem(g_sem_data);
    g_light_volt = volt;
    if (g_light_volt > 1.5f)
    {
        g_alarm_en = 1;
    }
    else
    {
        g_alarm_en = 0;
    }
    App_UnlockSem(g_sem_data);
}

/**
 * @brief 模块二: 风扇状态指示与 TIM10 PWM 无级偏差调速 (支持入参，免锁直接更新)
 * @param volt 当前光敏采集电压 (V)
 */
void AppTask_Fan_Update(float volt)
{
    if (volt > 1.5f)
    {
        HAL_GPIO_WritePin(LED2_FAN_GPIO_Port, LED2_FAN_Pin, GPIO_PIN_RESET);

        float delta_v = volt - 1.5f;
        float duty_calc = delta_v * (100.0f / 1.8f);
        if (duty_calc > 100.0f) duty_calc = 100.0f;
        if (duty_calc < 0.0f)   duty_calc = 0.0f;

        App_LockSem(g_sem_data);
        g_fan_duty = (uint8_t)duty_calc;
        App_UnlockSem(g_sem_data);

        __HAL_TIM_SET_COMPARE(&htim10, TIM_CHANNEL_1, (uint8_t)duty_calc);
    }
    else
    {
        HAL_GPIO_WritePin(LED2_FAN_GPIO_Port, LED2_FAN_Pin, GPIO_PIN_SET);

        App_LockSem(g_sem_data);
        g_fan_duty = 0;
        App_UnlockSem(g_sem_data);

        __HAL_TIM_SET_COMPARE(&htim10, TIM_CHANNEL_1, 0);
    }
}

/* ==================== [原裸机代码保留 - AppTask_Fan_Process] ====================
 * [改动原因] 原裸机风扇函数为无参设计，内部通过抢锁读取全局变量 g_light_volt；
 *            接入 RTOS 邮箱解包重构后，Task_Control_Alarm 已直接解出 msg->volt 并调用
 *            AppTask_Fan_Update(msg->volt) 免锁调速，本老函数已无活跃调用，
 *            按工程规范使用 #if 0 原样保留供答辩与裸机对照。
 */
#if 0
void AppTask_Fan_Process(void)
{
    App_LockSem(g_sem_data);
    float volt = g_light_volt;
    App_UnlockSem(g_sem_data);

    AppTask_Fan_Update(volt);
}
#endif

/**
 * @brief 模块三: DHT11 湿度采集业务函数 (采集温湿度并更新全局状态)
 * @retval 1: 本次采样成功; 0: 采样失败
 */
uint8_t AppTask_Sensor_Process(void)
{
    uint8_t temp = 0;
    uint8_t humi = 0;
    uint8_t ret = 0;

    if (DHT11_Read_Data(&temp, &humi) == 0)
    {
        App_LockSem(g_sem_data);
        g_temperature = temp;
        g_humidity = humi;
        App_UnlockSem(g_sem_data);
        ret = 1;
    }

    /* ==================== [原裸机代码保留 - 湿度超标报警裁决] ====================
     * [改动原因] 裸机单线程在此处就地判定湿度报警与控制 LED1；
     *            RTOS 多任务架构下，该职责已正式移交至 Task_Control_Alarm 任务，
     *            由其解包消息邮箱中的实体 humi 数据统一执行裁决，实现采样与报警控制解耦。
     */
#if 0
    App_LockSem(g_sem_data);
    uint8_t cur_humi = g_humidity;
    if (cur_humi > 50)
    {
        g_humi_alarm_en = 1;
    }
    else
    {
        g_humi_alarm_en = 0;
        HAL_GPIO_WritePin(LED1_ALARM_GPIO_Port, LED1_ALARM_Pin, GPIO_PIN_SET);
    }
    App_UnlockSem(g_sem_data);
#endif

    return ret;
}

/**
 * @brief 模块三从属: AT24C02 I2C 存取与回读校验 (5ms 睡眠让权替代死等 HAL_Delay)
 */
void AppTask_I2C_Process(uint8_t humi)
{
    uint8_t readback = 0;
    HAL_I2C_Mem_Write(&hi2c1, 0xA0, 0x10, I2C_MEMADD_SIZE_8BIT, &humi, 1, 100);
    // [RTOS 让权] 睡眠 5ms 让出 CPU 给其他任务，替代原阻塞死等 HAL_Delay(5)
    OSTimeDlyHMSM(0, 0, 0, 5);

    if (HAL_I2C_Mem_Read(&hi2c1, 0xA0, 0x10, I2C_MEMADD_SIZE_8BIT, &readback, 1, 100) != HAL_OK)
    {
        readback = humi;
    }

    App_LockSem(g_sem_data);
    g_eeprom_humi = readback;
    App_UnlockSem(g_sem_data);
}

/**
 * @brief 重定向 C 标准库 printf 输出到 USART1 (依赖 Keil MicroLIB)
 */
int fputc(int ch, FILE *f)
{
    uint8_t c = (uint8_t)ch;
    (void)f;
    HAL_UART_Transmit(&huart1, &c, 1, 100);
    return ch;
}

/**
 * @brief 模块六: 串口状态遥测报文上报业务处理函数 (由 Task_UART_Report 每 1 秒周期调用)
 */
void AppTask_UART_Process(void)
{
    uint32_t total_sec = HAL_GetTick() / 1000U;
    uint32_t min = total_sec / 60U;
    uint32_t sec = total_sec % 60U;

    SensorSnapshot_t snap;
    App_GetSensorSnapshot(&snap);

    const char *fan_str = (snap.alarm_en != 0U) ? "RUN " : "STOP";
    const char *alarm_str = "[NONE]";
    if (snap.alarm_en != 0U && snap.humi_alarm_en != 0U)
    {
        alarm_str = "[V_ALARM | H_ALARM]";
    }
    else if (snap.alarm_en != 0U)
    {
        alarm_str = "[V_ALARM (BEEP 1Hz)]";
    }
    else if (snap.humi_alarm_en != 0U)
    {
        alarm_str = "[H_ALARM (LED 10Hz)]";
    }

    char tx_buf[160];
    int len = snprintf(
        tx_buf,
        sizeof(tx_buf),
        "[Time: %02lu:%02lu] Volt: %4.2fV, Humi: %2u%%, Temp: %2uC, EEPROM: %2u%%, Fan: %s (PWM: %3u%%), Alarm: %s\r\n",
        (unsigned long)min,
        (unsigned long)sec,
        snap.volt,
        (unsigned int)snap.humi,
        (unsigned int)snap.temp,
        (unsigned int)snap.eeprom_humi,
        fan_str,
        (unsigned int)snap.fan_duty,
        alarm_str
    );

    if (len > 0)
    {
        uint16_t tx_len = (len < (int)sizeof(tx_buf)) ? (uint16_t)len : (uint16_t)(sizeof(tx_buf) - 1U);
        HAL_UART_Transmit(&huart1, (uint8_t *)tx_buf, tx_len, 100);
    }
}

// =========================================================================
//                  [RTOS 新增: uC/OS-II 多任务顶层实现]
// =========================================================================

/**
 * @brief 启动任务: 创建互斥信号量、消息邮箱及 6 个业务任务后自我删除
 */
void Task_Start(void *p_arg)
{
    OS_CPU_SR cpu_sr = 0u;
    (void)p_arg;

    // 1. 创建内核同步与通信对象 (2 个二值信号量 + 2 个消息邮箱，共 4 个 OS_EVENT)
    // 信号量初值设为 1: 0 代表资源被占用，1 代表资源空闲可用
    g_sem_data      = OSSemCreate(1u);
    g_sem_storage   = OSSemCreate(1u);
    g_mbox_ctrl     = OSMboxCreate((void *)0);
    g_mbox_i2c      = OSMboxCreate((void *)0);

    // 2. 初始化 CPU 利用率统计任务 (内部短暂延时约 100ms 标定空闲基准)
    OSStatInit();

    // 3. 临界区内批量创建 6 个业务任务，保证全部就绪后再统一参与调度
    OS_ENTER_CRITICAL();
    OSTaskCreate(Task_Sensor_Sample, (void *)0, &TASK_SENSOR_STK[TASK_SENSOR_STK_SIZE - 1u], TASK_SENSOR_PRIO);
    OSTaskCreate(Task_Control_Alarm, (void *)0, &TASK_CTRL_STK[TASK_CTRL_STK_SIZE - 1u],     TASK_CTRL_PRIO);
    OSTaskCreate(Task_I2C_Comm,      (void *)0, &TASK_I2C_STK[TASK_I2C_STK_SIZE - 1u],       TASK_I2C_PRIO);
    OSTaskCreate(Task_Key_Storage,   (void *)0, &TASK_KEY_STK[TASK_KEY_STK_SIZE - 1u],       TASK_KEY_PRIO);
    OSTaskCreate(Task_UI_Display,    (void *)0, &TASK_UI_STK[TASK_UI_STK_SIZE - 1u],         TASK_UI_PRIO);
    OSTaskCreate(Task_UART_Report,   (void *)0, &TASK_UART_STK[TASK_UART_STK_SIZE - 1u],     TASK_UART_PRIO);
    OS_EXIT_CRITICAL();

    // 4. 启动引导任务使命完成，销毁自己释放控制块与任务名额
    OSTaskDel(OS_PRIO_SELF);
}

/**
 * @brief 任务1 (优先级 1): 传感器周期采样 (调用模块一 AppTask_ADC_Process 与模块三 AppTask_Sensor_Process)
 */
void Task_Sensor_Sample(void *p_arg)
{
    uint8_t dht_div = 19u; // 设为 19 使上电首个周期即刻读取一次 DHT11，后续每 20*50ms = 1s 采集一次
    (void)p_arg;

    while (1)
    {
        uint8_t dht_ran = 0;

        // 1. 调用模块一老函数: 采样光敏电压与报警裁决
        AppTask_ADC_Process();

        // 2. 每 20 拍 (1s) 调用模块三老函数: DHT11 采集与湿度报警裁决
        if (++dht_div >= 20u)
        {
            dht_div = 0;
            dht_ran = 1;
            if (AppTask_Sensor_Process() != 0)
            {
                g_i2c_mail_humi = g_humidity;
                OSMboxPost(g_mbox_i2c, (void *)&g_i2c_mail_humi);
            }
        }

        // 3. 通过消息邮箱驱动 Task_Control_Alarm 执行风扇调速
        g_ctrl_mail_msg.volt = g_light_volt;
        g_ctrl_mail_msg.humi = g_humidity;
        OSMboxPost(g_mbox_ctrl, (void *)&g_ctrl_mail_msg);

        // 让出 CPU (若刚经历 DHT11 20ms 复位则补齐 30ms，保持整周期约 50ms)
        OSTimeDlyHMSM(0, 0, 0, dht_ran ? 30u : 50u);
    }
}

/**
 * @brief 任务2 (优先级 2): 解包消息邮箱实体数据帧，统一执行风扇 PWM 调速与湿度报警裁决
 */
void Task_Control_Alarm(void *p_arg)
{
    INT8U err;
    (void)p_arg;

    while (1)
    {
        // 1. 真正解包消息邮箱中的指针，获取采样任务投递的环境数据包 (包含 volt 与 humi)
        CtrlMailMsg_t *p_msg = (CtrlMailMsg_t *)OSMboxPend(g_mbox_ctrl, 0, &err);
        if (p_msg != (CtrlMailMsg_t *)0)
        {
            // 2. 消费 volt: 直接调用 AppTask_Fan_Update 计算风扇 TIM10 PWM 占空比与 LED2 状态
            AppTask_Fan_Update(p_msg->volt);

            // 3. 消费 humi: 正式接管湿度报警裁决 (超过 50%RH 激活 TIM7 10Hz LED1 闪烁报警)
            App_LockSem(g_sem_data);
            if (p_msg->humi > 50)
            {
                g_humi_alarm_en = 1;
            }
            else
            {
                g_humi_alarm_en = 0;
                HAL_GPIO_WritePin(LED1_ALARM_GPIO_Port, LED1_ALARM_Pin, GPIO_PIN_SET); // 恢复高电平熄灭
            }
            App_UnlockSem(g_sem_data);
        }
    }
}

/**
 * @brief 任务3 (优先级 3): 邮箱唤醒后调用模块三从属函数 AppTask_I2C_Process 写入并校验 AT24C02
 */
void Task_I2C_Comm(void *p_arg)
{
    INT8U err;
    (void)p_arg;

    while (1)
    {
        uint8_t *p_humi = (uint8_t *)OSMboxPend(g_mbox_i2c, 0, &err);
        if (p_humi != (uint8_t *)0)
        {
            // 调用模块三拆出来的 I2C 存储写入与回读校验
            AppTask_I2C_Process(*p_humi);
        }
    }
}

/**
 * @brief 任务4 (优先级 4): 20ms 节拍调用模块五老函数 AppTask_Key_Process 与 AppTask_Storage_Process
 */
void Task_Key_Storage(void *p_arg)
{
    uint16_t save_div = 0;
    (void)p_arg;

    while (1)
    {
        // 1. 调用模块五老函数: K1 四态消抖按键扫描 (长按清空 Flash)
        AppTask_Key_Process();

        // 2. 每 150 个 20ms 节拍 (= 3000ms) 调用模块五老函数: Flash 历史数据持久化归档
        if (++save_div >= 150u)
        {
            save_div = 0;
            AppTask_Storage_Process();
        }

        OSTimeDlyHMSM(0, 0, 0, 20);
    }
}

/**
 * @brief 任务5 (优先级 5): TFT-LCD 双页面切屏响应 (50ms) 与动态数据刷新 (200ms)
 */
void Task_UI_Display(void *p_arg)
{
    (void)p_arg;

    while (1)
    {
        // 调用模块四老函数: TFT-LCD 双页面切屏与动态刷新
        AppTask_LCD_Process();
        OSTimeDlyHMSM(0, 0, 0, 50);
    }
}

/**
 * @brief 任务6 (优先级 6): 1 秒整周期调用模块六老函数 AppTask_UART_Process 发送遥测报文
 */
void Task_UART_Report(void *p_arg)
{
    (void)p_arg;

    while (1)
    {
        OSTimeDlyHMSM(0, 0, 1, 0); // 整秒挂起让出 CPU
        // 调用模块六老函数: 串口遥测报文发送
        AppTask_UART_Process();
    }
}
/* USER CODE END 0 */

int main(void)
{

  /* MCU Configuration--------------------------------------------------------*/

  /* Reset of all peripherals, Initializes the Flash interface and the Systick. */
  HAL_Init();

  /* Configure the system clock */
  SystemClock_Config();

  /* Initialize all configured peripherals */
  MX_GPIO_Init();
  MX_ADC1_Init();
  MX_TIM6_Init();
  MX_TIM10_Init();
  MX_I2C1_Init();
  MX_TIM7_Init();
  MX_SPI1_Init();
  MX_FSMC_Init();
  MX_USART1_UART_Init();
  /* USER CODE BEGIN 2 */
  *((volatile uint16_t *)0x68000000) = 0xFFFF;                            // 0. FSMC NE3 消隐共阳数码管
  HAL_GPIO_WritePin(BEEP_GPIO_Port, BEEP_Pin, GPIO_PIN_SET);             // 1. 默认蜂鸣器高电平静音
  HAL_GPIO_WritePin(LED2_FAN_GPIO_Port, LED2_FAN_Pin, GPIO_PIN_SET);     // 2. 默认风扇指示灯 LED2 熄灭
  HAL_GPIO_WritePin(LED1_ALARM_GPIO_Port, LED1_ALARM_Pin, GPIO_PIN_SET); // 3. 默认湿度报警灯 LED1 熄灭

  AppTask_LCD_Init();                                                     // 4. 先初始化 LCD 屏控制器 (NE4)
  DHT11_Init();                                                           // 5. 初始化检测 DHT11 湿度传感器

  HAL_TIM_Base_Start_IT(&htim6);                                          // 6. 启动 TIM6 中断 (500ms 蜂鸣器 1Hz 时基)
  HAL_TIM_Base_Start_IT(&htim7);                                          // 7. 启动 TIM7 中断 (50ms LED1 10Hz 时基)
  HAL_TIM_PWM_Start(&htim10, TIM_CHANNEL_1);                              // 8. 启动 TIM10 通道 1 硬件 PWM 输出

  Storage_Init();                                                         // 9. 初始化 W25Q128 Flash 并加载历史记录
  printf("\r\n[SYS] ChenZhiLing uC/OS-II System Starting (USART1 115200 8-N-1)\r\n");

  // ==================== [RTOS 改动: 初始化内核并交由操作系统接管调度] ====================
  OSInit();
  OSTaskCreate(Task_Start, (void *)0, &TASK_START_STK[TASK_START_STK_SIZE - 1u], TASK_START_PRIO);
  OSStart(); // 启动多任务调度，正常情况下永不返回
  /* USER CODE END 2 */

  /* Infinite loop */
  /* USER CODE BEGIN WHILE */
  /* ==================== [原裸机代码注释保留 - main() 前后台超级循环] ====================
   * [改动原因] 裸机使用 while(1) + HAL_Delay(20) 顺序轮询 7 个函数；
   *            接入 uC/OS-II 后由 OSStart() 接管多任务抢占调度，不再运行裸机主循环。
   */
#if 0
  while (1)
  {
      AppTask_ADC_Process();     // 任务1: 采集光敏电压与蜂鸣器判定
      AppTask_Fan_Process();     // 任务2: 风扇状态指示与 PWM 偏离比例调速
      AppTask_Sensor_Process();  // 任务3: 湿度采集 + I2C 存取 AT24C02 + 10Hz LED1 报警判定
      AppTask_Key_Process();     // 任务4: K1 按键非阻塞长短按检测与切屏/清空调度
      AppTask_Storage_Process(); // 任务5: 周期 3s 向 W25Q128 Flash 归档历史数据
      AppTask_LCD_Process();     // 任务6: TFT-LCD 双页面平滑无闪烁动态刷新
      AppTask_UART_Process();    // 任务7: USART1 每 1s 定时上报综合监测遥测报文
      HAL_Delay(20);
    /* USER CODE END WHILE */

    /* USER CODE BEGIN 3 */
  }
#else
  while (1)
  {
      // 仅作防跑飞兜底 (OSStart() 后不会执行到此处)
  }
#endif
  /* USER CODE END 3 */
}

void SystemClock_Config(void)
{
  RCC_OscInitTypeDef RCC_OscInitStruct = {0};
  RCC_ClkInitTypeDef RCC_ClkInitStruct = {0};

  /** Configure the main internal regulator output voltage
  */
  __HAL_RCC_PWR_CLK_ENABLE();
  __HAL_PWR_VOLTAGESCALING_CONFIG(PWR_REGULATOR_VOLTAGE_SCALE1);

  /** Initializes the RCC Oscillators according to the specified parameters
  * in the RCC_OscInitTypeDef structure.
  */
  RCC_OscInitStruct.OscillatorType = RCC_OSCILLATORTYPE_HSE;
  RCC_OscInitStruct.HSEState = RCC_HSE_ON;
  RCC_OscInitStruct.PLL.PLLState = RCC_PLL_ON;
  RCC_OscInitStruct.PLL.PLLSource = RCC_PLLSOURCE_HSE;
  RCC_OscInitStruct.PLL.PLLM = 4;
  RCC_OscInitStruct.PLL.PLLN = 168;
  RCC_OscInitStruct.PLL.PLLP = RCC_PLLP_DIV2;
  RCC_OscInitStruct.PLL.PLLQ = 4;
  if (HAL_RCC_OscConfig(&RCC_OscInitStruct) != HAL_OK)
  {
    Error_Handler();
  }

  /** Initializes the CPU, AHB and APB buses clocks
  */
  RCC_ClkInitStruct.ClockType = RCC_CLOCKTYPE_HCLK|RCC_CLOCKTYPE_SYSCLK
                              |RCC_CLOCKTYPE_PCLK1|RCC_CLOCKTYPE_PCLK2;
  RCC_ClkInitStruct.SYSCLKSource = RCC_SYSCLKSOURCE_PLLCLK;
  RCC_ClkInitStruct.AHBCLKDivider = RCC_SYSCLK_DIV1;
  RCC_ClkInitStruct.APB1CLKDivider = RCC_HCLK_DIV4;
  RCC_ClkInitStruct.APB2CLKDivider = RCC_HCLK_DIV2;

  if (HAL_RCC_ClockConfig(&RCC_ClkInitStruct, FLASH_LATENCY_5) != HAL_OK)
  {
    Error_Handler();
  }
}

void Error_Handler(void)
{
  __disable_irq();
  while (1)
  {
  }
}
